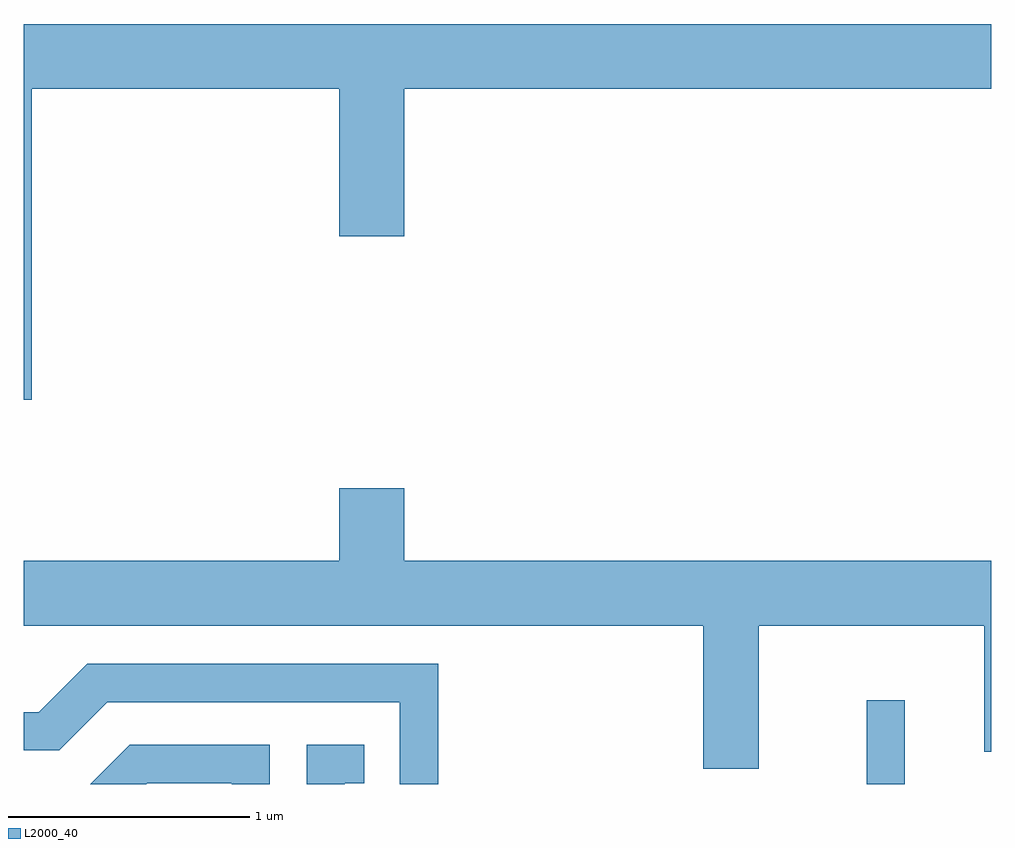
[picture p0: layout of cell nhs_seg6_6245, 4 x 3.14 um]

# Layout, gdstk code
import gdstk
lib = gdstk.Library(unit=1e-6, precision=1e-09)
def R(c, l, rs):  # rectangles x0, y0, x1, y1
    for r in rs: c.add(gdstk.rectangle(r[:2], r[2:], *l))
def P(c, l, *ps):  # polygons
    for p in ps: c.add(gdstk.Polygon(p, *l))
L2000_40 = (2000, 40)

nhs_seg6_6245 = lib.new_cell('nhs_seg6_6245')
R(nhs_seg6_6245, L2000_40, [(377.096,1658.162,377.254,1658.508)])
P(nhs_seg6_6245, L2000_40, [(373.644,1661.036),(374.916,1661.036),(374.916,1660.426),(375.184,1660.426),(375.184,1661.036),(377.611,1661.036),(377.611,1661.304),(373.611,1661.304),(373.611,1659.751),(373.644,1659.751)],
  [(376.649,1658.816),(377.581,1658.816),(377.581,1658.296),(377.611,1658.296),(377.611,1659.084),(375.184,1659.084),(375.184,1659.384),(374.916,1659.384),(374.916,1659.084),(373.611,1659.084),(373.611,1658.816),(376.421,1658.816),(376.421,1658.226),(376.649,1658.226)],
  [(375.324,1658.659),(373.874,1658.659),(373.674,1658.459),(373.611,1658.459),(373.611,1658.301),(373.757,1658.301),(373.957,1658.501),(375.166,1658.501),(375.166,1658.162),(375.324,1658.162)],
  [(374.122,1658.166),(374.471,1658.166),(374.471,1658.162),(374.629,1658.162),(374.629,1658.324),(374.049,1658.324),(373.887,1658.162),(374.118,1658.162)],
  [(374.939,1658.166),(375.018,1658.166),(375.018,1658.324),(374.781,1658.324),(374.781,1658.162),(374.939,1658.162)])

lib.write_gds('nhs_seg6_6245.gds')
